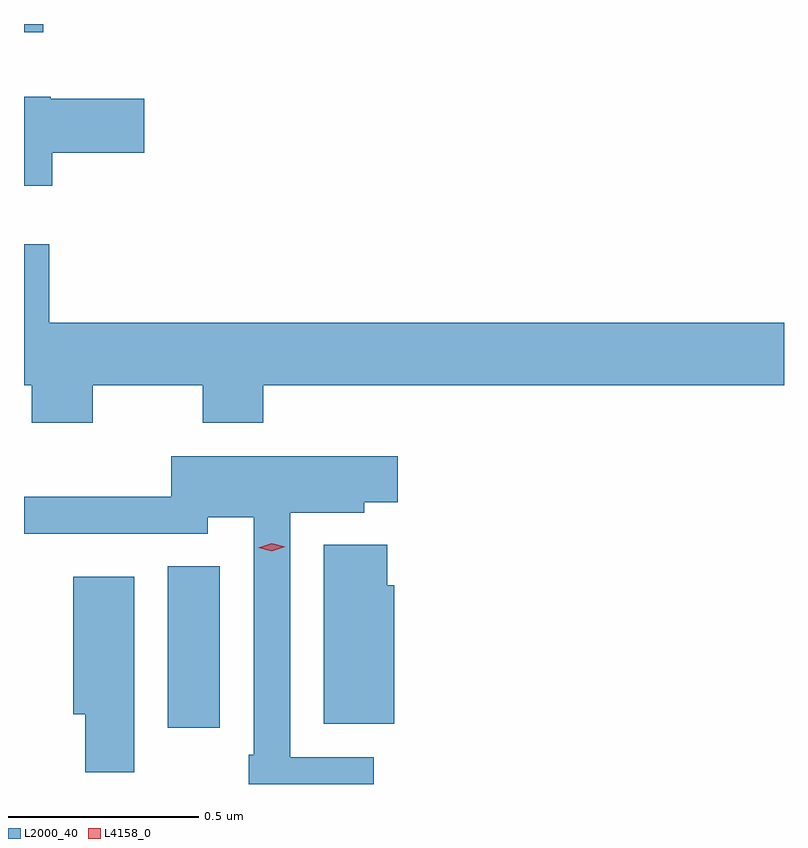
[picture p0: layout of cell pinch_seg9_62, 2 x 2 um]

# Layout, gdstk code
import gdstk
lib = gdstk.Library(unit=1e-6, precision=1e-09)
def R(c, l, rs):  # rectangles x0, y0, x1, y1
    for r in rs: c.add(gdstk.rectangle(r[:2], r[2:], *l))
def P(c, l, *ps):  # polygons
    for p in ps: c.add(gdstk.Polygon(p, *l))
L2000_40 = (2000, 40)
L4158_0 = (4158, 0)

pinch_seg9_62 = lib.new_cell('pinch_seg9_62')
R(pinch_seg9_62, L2000_40, [(906.386,1172.874,906.523,1173.299), (906.008,1174.704,906.059,1174.726)])
P(pinch_seg9_62, L2000_40, [(906.082,1174.387),(906.325,1174.387),(906.325,1174.529),(906.078,1174.529),(906.078,1174.534),(906.008,1174.534),(906.008,1174.301),(906.082,1174.301)],
  [(906.189,1173.776),(906.478,1173.776),(906.478,1173.677),(906.638,1173.677),(906.638,1173.776),(908.008,1173.776),(908.008,1173.94),(906.074,1173.94),(906.074,1174.147),(906.008,1174.147),(906.008,1173.776),(906.029,1173.776),(906.029,1173.677),(906.189,1173.677)],
  [(906.928,1172.796),(906.708,1172.796),(906.708,1173.44),(906.903,1173.44),(906.903,1173.467),(906.991,1173.467),(906.991,1173.589),(906.396,1173.589),(906.396,1173.482),(906.008,1173.482),(906.008,1173.384),(906.492,1173.384),(906.492,1173.428),(906.612,1173.428),(906.612,1172.803),(906.6,1172.803),(906.6,1172.726),(906.928,1172.726)],
  [(906.982,1173.249),(906.964,1173.249),(906.964,1173.355),(906.797,1173.355),(906.797,1172.885),(906.982,1172.885)],
  [(906.298,1173.271),(906.137,1173.271),(906.137,1172.909),(906.169,1172.909),(906.169,1172.757),(906.298,1172.757)])
P(pinch_seg9_62, L4158_0, [(906.66,1173.339),(906.625,1173.348),(906.625,1173.348),(906.625,1173.348),(906.66,1173.359),(906.695,1173.35),(906.695,1173.35),(906.695,1173.35)])

lib.write_gds('pinch_seg9_62.gds')
